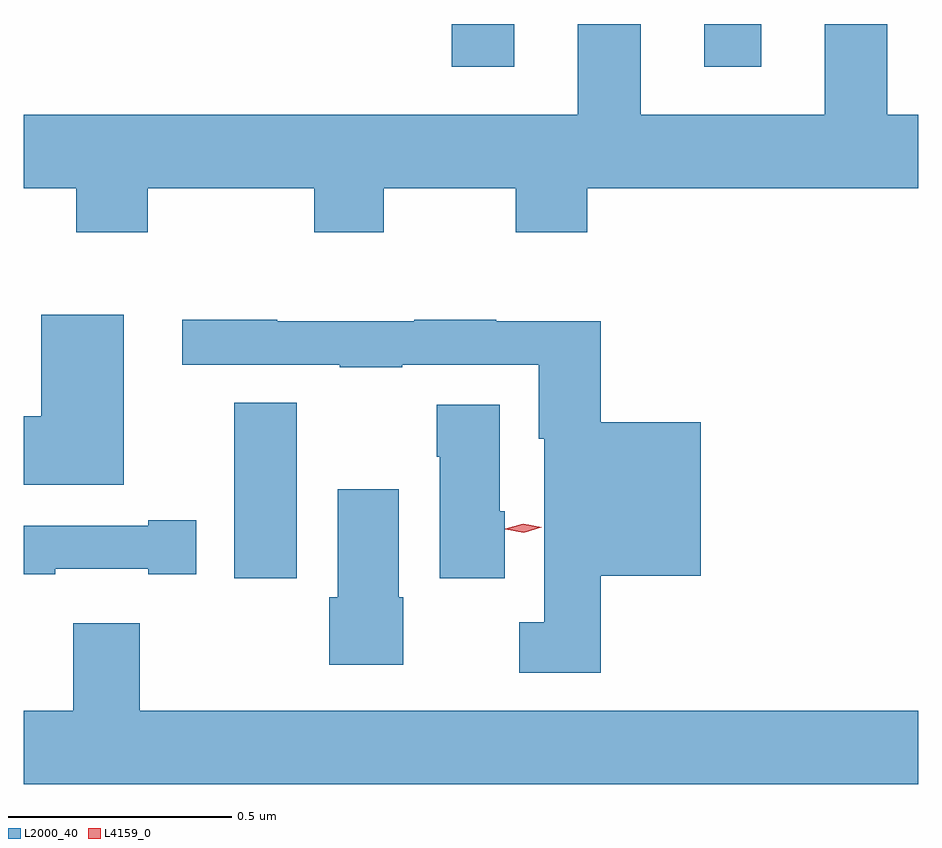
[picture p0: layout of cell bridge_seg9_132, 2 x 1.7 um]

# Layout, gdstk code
import gdstk
lib = gdstk.Library(unit=1e-6, precision=1e-09)
def R(c, l, rs):  # rectangles x0, y0, x1, y1
    for r in rs: c.add(gdstk.rectangle(r[:2], r[2:], *l))
def P(c, l, *ps):  # polygons
    for p in ps: c.add(gdstk.Polygon(p, *l))
L2000_40 = (2000, 40)
L4159_0 = (4159, 0)

bridge_seg9_132 = lib.new_cell('bridge_seg9_132')
R(bridge_seg9_132, L2000_40, [(456.389,1200.876,456.529,1201.268), (456.875,1202.019,457.015,1202.115), (457.439,1202.019,457.567,1202.115)])
P(bridge_seg9_132, L2000_40, [(456.195,1201.748),(456.568,1201.748),(456.568,1201.649),(456.723,1201.649),(456.723,1201.748),(457.018,1201.748),(457.018,1201.649),(457.178,1201.649),(457.178,1201.748),(457.918,1201.748),(457.918,1201.912),(457.849,1201.912),(457.849,1202.115),(457.709,1202.115),(457.709,1201.912),(457.297,1201.912),(457.297,1202.115),(457.157,1202.115),(457.157,1201.912),(455.918,1201.912),(455.918,1201.748),(456.035,1201.748),(456.035,1201.649),(456.195,1201.649)],
  [(456.142,1201.465),(455.957,1201.465),(455.957,1201.238),(455.918,1201.238),(455.918,1201.085),(456.142,1201.085)],
  [(457.208,1200.881),(457.432,1200.881),(457.432,1201.225),(457.208,1201.225),(457.208,1201.451),(456.974,1201.451),(456.974,1201.454),(456.791,1201.454),(456.791,1201.451),(456.485,1201.451),(456.485,1201.454),(456.273,1201.454),(456.273,1201.353),(456.625,1201.353),(456.625,1201.348),(456.764,1201.348),(456.764,1201.353),(457.07,1201.353),(457.07,1201.188),(457.082,1201.188),(457.082,1200.778),(457.026,1200.778),(457.026,1200.665),(457.208,1200.665)],
  [(456.994,1201.026),(456.982,1201.026),(456.982,1201.264),(456.841,1201.264),(456.841,1201.148),(456.848,1201.148),(456.848,1200.876),(456.994,1200.876)],
  [(456.766,1200.834),(456.757,1200.834),(456.757,1201.075),(456.62,1201.075),(456.62,1200.834),(456.601,1200.834),(456.601,1200.683),(456.766,1200.683)],
  [(455.989,1200.897),(456.197,1200.897),(456.197,1200.885),(456.304,1200.885),(456.304,1201.006),(456.197,1201.006),(456.197,1200.993),(455.918,1200.993),(455.918,1200.885),(455.989,1200.885)],
  [(457.918,1200.58),(456.177,1200.58),(456.177,1200.775),(456.029,1200.775),(456.029,1200.58),(455.918,1200.58),(455.918,1200.416),(457.918,1200.416)])
P(bridge_seg9_132, L4159_0, [(457.036,1200.978),(456.995,1200.986),(456.995,1200.987),(456.995,1200.987),(457.035,1200.998),(457.076,1200.99),(457.076,1200.99),(457.076,1200.99)])

lib.write_gds('bridge_seg9_132.gds')
